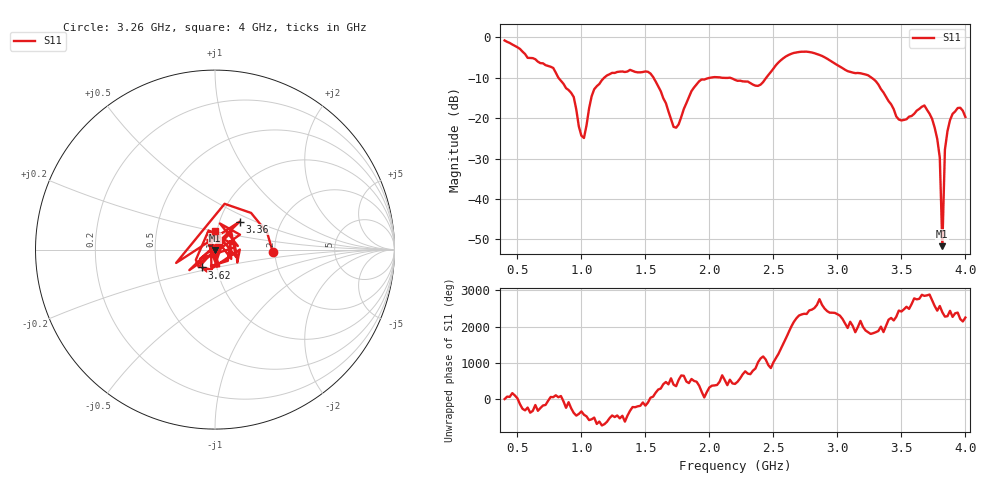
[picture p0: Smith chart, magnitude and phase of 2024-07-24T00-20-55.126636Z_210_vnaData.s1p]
!Created with skrf (http://scikit-rf.org).
# Hz S RI R 50.0
!freq ReS11 ImS11
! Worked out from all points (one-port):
!   181 points, 400 MHz to 4 GHz, reference 50 ohm
!   lowest |S11| = -51.7 dB at 3.82 GHz (marker M1), VSWR 1.01, Z = 49.9 - j0.215 ohm
!   |S11| at or under -10 dB: 819.9 MHz to 1.178 GHz (358.3 MHz wide, 35.9 % of centre); 1.563 GHz to 2.007 GHz (443.6 MHz wide, 24.8 % of centre); 3.267 GHz to end of sweep (the widest 3 of 5)
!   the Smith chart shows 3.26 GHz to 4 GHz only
!   S11 on the Smith chart (normalised r, x): 3.26 GHz: 1.95, -0.06; 3.36 GHz: 1.25, +0.41; 3.62 GHz: 0.85, -0.17; 4 GHz: 0.98, +0.20
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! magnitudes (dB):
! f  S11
! 400 MHz  -0.8
! 860 MHz  -11.5
! 940 MHz  -14.8
! 980 MHz  -22.1
! 1.02 GHz  -24.9
! 1.1 GHz  -12.9
! 1.3 GHz  -8.5
! 1.54 GHz  -9.0
! 1.72 GHz  -22.2
! 1.76 GHz  -21.5
! 1.92 GHz  -10.9
! 2.2 GHz  -10.5
! 2.38 GHz  -12.0
! 2.66 GHz  -3.9
! 3.1 GHz  -8.6
! 3.26 GHz  -9.8
! 3.36 GHz  -13.7
! 3.48 GHz  -20.3
! 3.56 GHz  -19.6
! 3.62 GHz  -18.1
! 3.68 GHz  -16.9
! 3.78 GHz  -25.1
! 3.8 GHz  -29.7
! 3.82 GHz  -51.7
! 3.84 GHz  -27.8
! 3.86 GHz  -23.2
! 3.94 GHz  -17.5
! 4 GHz  -19.7
